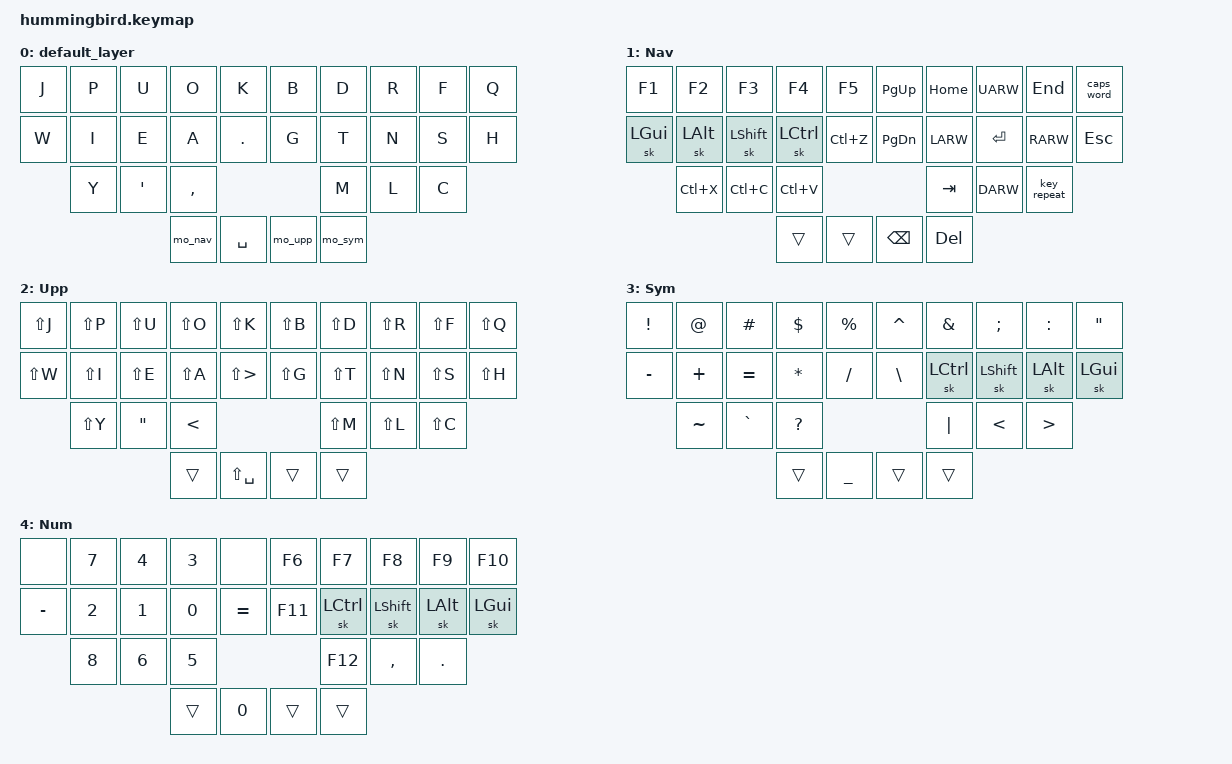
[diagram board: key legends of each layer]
/*
 * Copyright (c) 2020 The ZMK Contributors
 *
 * SPDX-License-Identifier: MIT
 */

#include <behaviors.dtsi>
#include <dt-bindings/zmk/keys.h>

/* Layers */
#define DEF_L 0
#define NAV_L 1
#define UPP_L 2
#define SYM_L 3
#define NUM_L 4

/* Behavior Settings */
&caps_word {
  continue-list = <UNDERSCORE MINUS BACKSPACE>;
};

&sk {
  release-after-ms = <60000>;
};

/ {
    ZMK_MACRO(mo_nav,
        wait-ms = <0>;
        tap-ms = <0>;
        bindings
        = <&macro_tap &kp K_CANCEL>
        , <&macro_press &mo NAV_L>
        , <&macro_pause_for_release>
        , <&macro_release &mo NAV_L>;)

    ZMK_MACRO(mo_upp,
        wait-ms = <0>;
        tap-ms = <0>;
        bindings
        = <&macro_tap &kp K_CANCEL>
        , <&macro_press &mo UPP_L>
        , <&macro_pause_for_release>
        , <&macro_release &mo UPP_L>;)

    ZMK_MACRO(mo_sym,
        wait-ms = <0>;
        tap-ms = <0>;
        bindings
        = <&macro_tap &kp K_CANCEL>
        , <&macro_press &mo SYM_L>
        , <&macro_pause_for_release>
        , <&macro_release &mo SYM_L>;)

    combos {
        compatible = "zmk,combos";

        #define COMBO(NAME, BINDINGS, KEYPOS, LAYERS) \
          combo_##NAME { \
            bindings = <BINDINGS>; \
            key-positions = <KEYPOS>; \
            layers = <LAYERS>; \
          };

        /*                KEY POSITIONS

          ╭────────────────────╮ ╭────────────────────╮
          │  0   1   2   3   4 │ │  5   6   7   8   9 │
          │ 10  11  12  13  14 │ │ 15  16  17  18  19 │
          │     20  21  22     │ │     23  24  25     │
          ╰───────────╮ 26  27 │ │ 28  29 ╭───────────╯
                      ╰────────╯ ╰────────╯            */

         /* Letters */
        COMBO(lower_v, &kp V, 21 22, DEF_L)
        COMBO(lower_x, &kp X, 23 24, DEF_L)
        COMBO(lower_z, &kp Z, 24 25, DEF_L)
        COMBO(forward_slash, &kp FSLH, 20 21, DEF_L)
        COMBO(upper_v, &kp LS(V), 21 22, UPP_L)
        COMBO(upper_x, &kp LS(X), 23 24, UPP_L)
        COMBO(upper_z, &kp LS(Z), 24 25, UPP_L)
        COMBO(question_mark, &kp LS(FSLH), 20 21, UPP_L)

        /* Brackets */
        COMBO(left_bracket, &kp LBKT, 1 11, DEF_L UPP_L SYM_L NUM_L)
        COMBO(right_bracket, &kp RBKT, 8 18, DEF_L UPP_L SYM_L NUM_L)
        COMBO(left_parenthesis, &kp LPAR, 2 12, DEF_L UPP_L SYM_L NUM_L)
        COMBO(right_parenthesis, &kp RPAR, 7 17, DEF_L UPP_L SYM_L NUM_L)
        COMBO(left_brace, &kp LBRC, 3 13, DEF_L UPP_L SYM_L NUM_L)
        COMBO(right_brace, &kp RBRC, 6 16, DEF_L UPP_L SYM_L NUM_L)

        /* Convenience */
        COMBO(esc, &kp ESC, 3 4, DEF_L)
        COMBO(del, &kp DEL, 13 14, DEF_L)
        COMBO(select_all, &kp LC(A), 20 21, NAV_L)
    };

    conditional_layers {
        compatible = "zmk,conditional-layers";
        tri_layer {
            if-layers = <UPP_L SYM_L>;
            then-layer = <NUM_L>;
        };
    };

    keymap {
        compatible = "zmk,keymap";

        default_layer {
            bindings = <
        // ╭─────────────┬─────────────┬─────────────┬─────────────┬─────────────╮   ╭─────────────┬─────────────┬─────────────┬─────────────┬─────────────╮
             &kp J         &kp P         &kp U         &kp O         &kp K             &kp B         &kp D         &kp R         &kp F         &kp Q
             &kp W         &kp I         &kp E         &kp A         &kp DOT           &kp G         &kp T         &kp N         &kp S         &kp H
                           &kp Y         &kp QUOT      &kp COMMA                                     &kp M         &kp L     &kp C
        // ╰─────────────┴─────────────┴─────────────╮                                                           ╭─────────────┴─────────────┴─────────────╯
                                                       &mo_nav       &kp SPACE         &mo_upp       &mo_sym
        //                                           ╰─────────────┴─────────────╯   ╰─────────────┴─────────────╯

            >;
        };

        nav_layer {
            label = "Nav";
            bindings = <
        // ╭─────────────┬─────────────┬─────────────┬─────────────┬─────────────╮   ╭─────────────┬─────────────┬─────────────┬─────────────┬─────────────╮
             &kp F1        &kp F2        &kp F3        &kp F4        &kp F5            &kp PG_UP     &kp HOME      &kp UARW      &kp END       &caps_word
             &sk LGUI      &sk LALT      &sk LSHFT     &sk LCTRL     &kp LC(Z)         &kp PG_DN     &kp LARW      &kp ENTER     &kp RARW      &kp ESC
                           &kp LC(X)     &kp LC(C)     &kp LC(V)                                     &kp TAB       &kp DARW      &key_repeat
        // ╰─────────────┴─────────────┴─────────────╮                                                           ╭─────────────┴─────────────┴─────────────╯
                                                       &trans        &trans            &kp BSPC      &kp DEL
        //                                           ╰─────────────┴─────────────╯   ╰─────────────┴─────────────╯
            >;
        };

        upper_layer {
            label = "Upp";
            bindings = <
        // ╭─────────────┬─────────────┬─────────────┬─────────────┬─────────────╮   ╭─────────────┬─────────────┬─────────────┬─────────────┬─────────────╮
             &kp LS(J)     &kp LS(P)     &kp LS(U)     &kp LS(O)     &kp LS(K)         &kp LS(B)     &kp LS(D)     &kp LS(R)     &kp LS(F)     &kp LS(Q)
             &kp LS(W)     &kp LS(I)     &kp LS(E)     &kp LS(A)     &kp LS(GT)         &kp LS(G)     &kp LS(T)     &kp LS(N)     &kp LS(S)     &kp LS(H)
                           &kp LS(Y)     &kp DQT       &kp LT                                         &kp LS(M)     &kp LS(L)        &kp LS(C)
        // ╰─────────────┴─────────────┴─────────────╮                                                           ╭─────────────┴─────────────┴─────────────╯
                                                       &trans        &kp LS(SPACE)     &trans        &trans
        //                                           ╰─────────────┴─────────────╯   ╰─────────────┴─────────────╯
            >;
        };

        sym_layer {
            label = "Sym";
            bindings = <
        // ╭─────────────┬─────────────┬─────────────┬─────────────┬─────────────╮   ╭─────────────┬─────────────┬─────────────┬─────────────┬─────────────╮
             &kp EXCL      &kp AT        &kp POUND     &kp DLLR      &kp PRCNT         &kp CARET     &kp AMPS      &kp SEMI      &kp COLON     &kp DQT
             &kp MINUS     &kp PLUS      &kp EQUAL     &kp ASTRK     &kp FSLH          &kp BSLH      &sk LCTRL     &sk LSHFT     &sk LALT      &sk LGUI
                           &kp TILDE     &kp GRAVE     &kp QMARK                                     &kp PIPE      &kp LT        &kp GT
        // ╰─────────────┴─────────────┴─────────────╮                                                           ╭─────────────┴─────────────┴─────────────╯
                                                       &trans        &kp UNDER         &trans        &trans
        //                                           ╰─────────────┴─────────────╯   ╰─────────────┴─────────────╯
            >;
        };

        num_layer {
            label = "Num";
            bindings = <
        // ╭─────────────┬─────────────┬─────────────┬─────────────┬─────────────╮   ╭─────────────┬─────────────┬─────────────┬─────────────┬─────────────╮
             &none         &kp N7        &kp N4        &kp N3        &none             &kp F6        &kp F7        &kp F8        &kp F9        &kp F10
             &kp MINUS     &kp N2        &kp N1        &kp N0        &kp EQUAL         &kp F11       &sk LCTRL     &sk LSHFT     &sk LALT      &sk LGUI
                           &kp N8        &kp N6        &kp N5                                        &kp F12       &kp COMMA     &kp DOT
        // ╰─────────────┴─────────────┴─────────────╮                                                           ╭─────────────┴─────────────┴─────────────╯
                                                       &trans        &kp N0            &trans        &trans
        //                                           ╰─────────────┴─────────────╯   ╰─────────────┴─────────────╯
            >;
        };
    };
};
